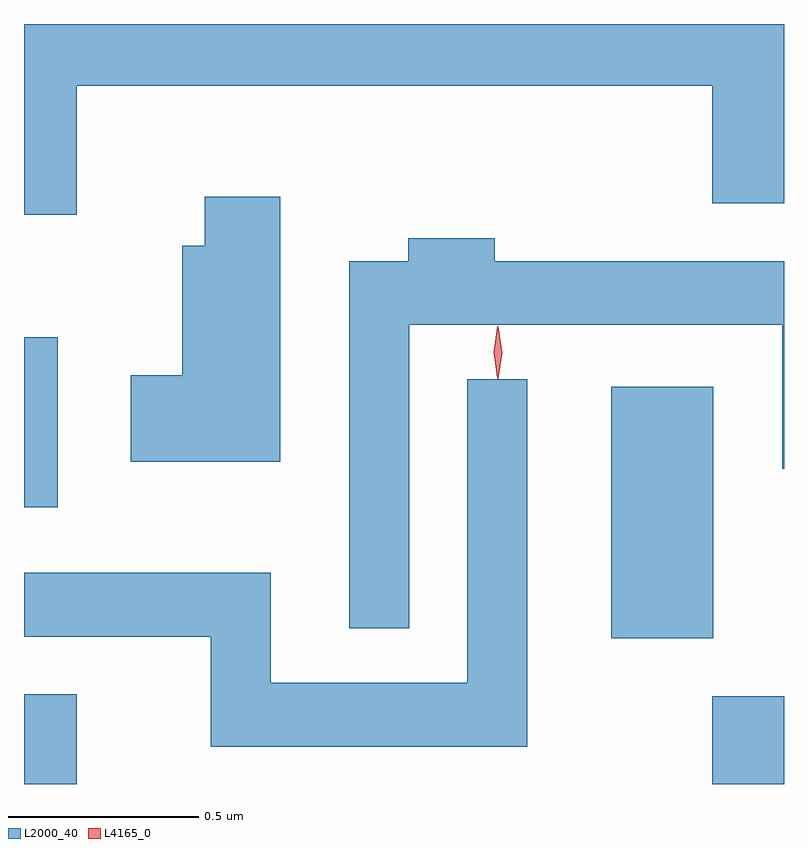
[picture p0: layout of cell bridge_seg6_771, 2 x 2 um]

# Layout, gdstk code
import gdstk
lib = gdstk.Library(unit=1e-6, precision=1e-09)
def R(c, l, rs):  # rectangles x0, y0, x1, y1
    for r in rs: c.add(gdstk.rectangle(r[:2], r[2:], *l))
def P(c, l, *ps):  # polygons
    for p in ps: c.add(gdstk.Polygon(p, *l))
L2000_40 = (2000, 40)
L4165_0 = (4165, 0)

bridge_seg6_771 = lib.new_cell('bridge_seg6_771')
R(bridge_seg6_771, L2000_40, [(427.57,1590.378,427.709,1590.614), (429.381,1590.378,429.57,1590.609), (429.116,1590.761,429.384,1591.424), (427.57,1591.106,427.659,1591.554)])
P(bridge_seg6_771, L2000_40, [(427.709,1592.216),(429.381,1592.216),(429.381,1591.906),(429.57,1591.906),(429.57,1592.378),(427.57,1592.378),(427.57,1591.876),(427.709,1591.876)],
  [(428.244,1591.924),(428.046,1591.924),(428.046,1591.794),(427.986,1591.794),(427.986,1591.454),(427.851,1591.454),(427.851,1591.226),(428.244,1591.226)],
  [(428.584,1591.586),(429.566,1591.586),(429.566,1591.208),(429.57,1591.208),(429.57,1591.754),(428.809,1591.754),(428.809,1591.814),(428.581,1591.814),(428.581,1591.754),(428.426,1591.754),(428.426,1590.788),(428.584,1590.788)],
  [(428.894,1591.443),(428.736,1591.443),(428.736,1590.644),(428.219,1590.644),(428.219,1590.934),(427.57,1590.934),(427.57,1590.766),(428.061,1590.766),(428.061,1590.476),(428.894,1590.476)])
P(bridge_seg6_771, L4165_0, [(428.817,1591.444),(428.808,1591.513),(428.817,1591.582),(428.818,1591.583),(428.818,1591.582),(428.828,1591.513),(428.818,1591.444),(428.818,1591.444)],
  [(428.816,1591.447),(428.816,1591.447),(428.806,1591.514),(428.816,1591.58),(428.816,1591.581),(428.817,1591.58),(428.826,1591.514),(428.817,1591.447)])

lib.write_gds('bridge_seg6_771.gds')
